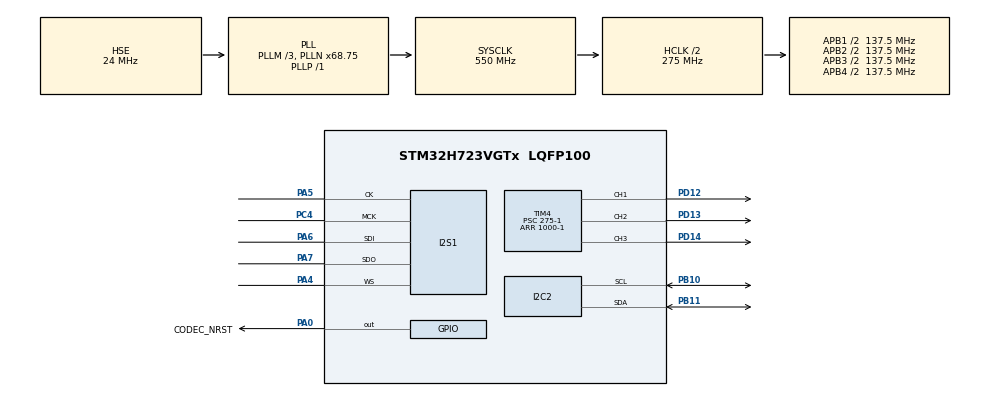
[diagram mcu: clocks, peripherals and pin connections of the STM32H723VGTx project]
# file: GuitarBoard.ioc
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Dma.Request0=SPI1_TX
Dma.Request1=SPI1_RX
Dma.SPI1_RX.1.Direction=DMA_PERIPH_TO_MEMORY
Dma.SPI1_RX.1.EventEnable=DISABLE
Dma.SPI1_RX.1.FIFOMode=DMA_FIFOMODE_DISABLE
Dma.SPI1_RX.1.Instance=DMA1_Stream1
Dma.SPI1_RX.1.MemDataAlignment=DMA_MDATAALIGN_WORD
Dma.SPI1_RX.1.MemInc=DMA_MINC_ENABLE
Dma.SPI1_RX.1.Mode=DMA_CIRCULAR
Dma.SPI1_RX.1.PeriphDataAlignment=DMA_PDATAALIGN_WORD
Dma.SPI1_RX.1.PeriphInc=DMA_PINC_DISABLE
Dma.SPI1_RX.1.Polarity=HAL_DMAMUX_REQ_GEN_RISING
Dma.SPI1_RX.1.Priority=DMA_PRIORITY_VERY_HIGH
Dma.SPI1_RX.1.RequestNumber=1
Dma.SPI1_RX.1.SignalID=NONE
Dma.SPI1_RX.1.SyncEnable=DISABLE
Dma.SPI1_RX.1.SyncPolarity=HAL_DMAMUX_SYNC_NO_EVENT
Dma.SPI1_RX.1.SyncRequestNumber=1
Dma.SPI1_RX.1.SyncSignalID=NONE
Dma.SPI1_TX.0.Direction=DMA_MEMORY_TO_PERIPH
Dma.SPI1_TX.0.EventEnable=DISABLE
Dma.SPI1_TX.0.FIFOMode=DMA_FIFOMODE_DISABLE
Dma.SPI1_TX.0.Instance=DMA1_Stream0
Dma.SPI1_TX.0.MemDataAlignment=DMA_MDATAALIGN_WORD
Dma.SPI1_TX.0.MemInc=DMA_MINC_ENABLE
Dma.SPI1_TX.0.Mode=DMA_CIRCULAR
Dma.SPI1_TX.0.PeriphDataAlignment=DMA_PDATAALIGN_WORD
Dma.SPI1_TX.0.PeriphInc=DMA_PINC_DISABLE
Dma.SPI1_TX.0.Polarity=HAL_DMAMUX_REQ_GEN_RISING
Dma.SPI1_TX.0.Priority=DMA_PRIORITY_VERY_HIGH
Dma.SPI1_TX.0.RequestNumber=1
Dma.SPI1_TX.0.SignalID=NONE
Dma.SPI1_TX.0.SyncEnable=DISABLE
Dma.SPI1_TX.0.SyncPolarity=HAL_DMAMUX_SYNC_NO_EVENT
Dma.SPI1_TX.0.SyncRequestNumber=1
Dma.SPI1_TX.0.SyncSignalID=NONE
I2C2.Timing=0x60404E72
I2S1.AudioFreq=I2S_AUDIOFREQ_48K
I2S1.DataFormat=I2S_DATAFORMAT_24B
I2S1.ErrorAudioFreq=-0.53 %
I2S1.Instance=SPI$Index
I2S1.RealAudioFreq=47.743 KHz
Mcu.Family=STM32H7
Mcu.Name=STM32H723VGTx
Mcu.Package=LQFP100
NVIC.DMA1_Stream0_IRQn=true\:0\:0\:false\:false\:true\:false\:true\:true
NVIC.DMA1_Stream1_IRQn=true\:0\:0\:false\:false\:true\:false\:true\:true
NVIC.PriorityGroup=NVIC_PRIORITYGROUP_4
PA0.GPIO_Label=CODEC_NRST
PA0.Signal=GPIO_Output
PA13(JTMS/SWDIO).Mode=Trace_Asynchronous_SW
PA13(JTMS/SWDIO).Signal=DEBUG_JTMS-SWDIO
PA14(JTCK/SWCLK).Mode=Trace_Asynchronous_SW
PA14(JTCK/SWCLK).Signal=DEBUG_JTCK-SWCLK
PA4.Mode=Full_Duplex_Master
PA4.Signal=I2S1_WS
PA5.Mode=Full_Duplex_Master
PA5.Signal=I2S1_CK
PA6.Mode=Full_Duplex_Master
PA6.Signal=I2S1_SDI
PA7.Mode=Full_Duplex_Master
PA7.Signal=I2S1_SDO
PB10.Mode=I2C
PB10.Signal=I2C2_SCL
PB11.Mode=I2C
PB11.Signal=I2C2_SDA
PB3(JTDO/TRACESWO).Mode=Trace_Asynchronous_SW
PB3(JTDO/TRACESWO).Signal=DEBUG_JTDO-SWO
PC4.Mode=Master_Clock_Activated
PC4.Signal=I2S1_MCK
PD12.Signal=S_TIM4_CH1
PD13.Signal=S_TIM4_CH2
PD14.Signal=S_TIM4_CH3
PH0-OSC_IN.Mode=HSE-External-Oscillator
PH0-OSC_IN.Signal=RCC_OSC_IN
PH1-OSC_OUT.Mode=HSE-External-Oscillator
PH1-OSC_OUT.Signal=RCC_OSC_OUT
ProjectManager.HeapSize=0x200
ProjectManager.StackSize=0x400
ProjectManager.TargetToolchain=STM32CubeIDE
RCC.ADCFreq_Value=48375000
RCC.APB1Freq_Value=137500000
RCC.APB2Freq_Value=137500000
RCC.APB3Freq_Value=137500000
RCC.APB4Freq_Value=137500000
RCC.CortexFreq_Value=550000000
RCC.D1PPRE=RCC_APB3_DIV2
RCC.D2PPRE1=RCC_APB1_DIV2
RCC.D2PPRE2=RCC_APB2_DIV2
RCC.D3PPRE=RCC_APB4_DIV2
RCC.DIVM1=3
RCC.DIVN1=68
RCC.DIVP1=1
RCC.DIVQ1=3
RCC.HCLKFreq_Value=275000000
RCC.HPRE=RCC_HCLK_DIV2
RCC.HSE_VALUE=24000000
RCC.PLLFRACN=6144
RCC.PLLSourceVirtual=RCC_PLLSOURCE_HSE
RCC.SYSCLKFreq_VALUE=550000000
RCC.SYSCLKSource=RCC_SYSCLKSOURCE_PLLCLK
RCC.USBFreq_Value=183333333.33333334
SH.S_TIM4_CH1.0=TIM4_CH1,PWM Generation1 CH1
SH.S_TIM4_CH2.0=TIM4_CH2,PWM Generation2 CH2
SH.S_TIM4_CH3.0=TIM4_CH3,PWM Generation3 CH3
TIM4.Channel-PWM\ Generation1\ CH1=TIM_CHANNEL_1
TIM4.Channel-PWM\ Generation2\ CH2=TIM_CHANNEL_2
TIM4.Channel-PWM\ Generation3\ CH3=TIM_CHANNEL_3
TIM4.Period=1000-1
TIM4.Prescaler=275-1
VP_TIM4_VS_ClockSourceINT.Mode=Internal
board=custom

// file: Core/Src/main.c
/* USER CODE BEGIN Header */
/**
  ******************************************************************************
  * @file           : main.c
  * @brief          : Main program body
  ******************************************************************************
  * @attention
  *
  * Copyright (c) 2024 STMicroelectronics.
  * All rights reserved.
  *
  * This software is licensed under terms that can be found in the LICENSE file
  * in the root directory of this software component.
  * If no LICENSE file comes with this software, it is provided AS-IS.
  *
  ******************************************************************************
  */
/* USER CODE END Header */
#include "main.h"

/* USER CODE BEGIN PD */
#define BUFFER_SIZE 128
/* USER CODE END PD */

I2C_HandleTypeDef hi2c2;

I2S_HandleTypeDef hi2s1;
DMA_HandleTypeDef hdma_spi1_tx;
DMA_HandleTypeDef hdma_spi1_rx;

TIM_HandleTypeDef htim4;

/* USER CODE BEGIN PV */
int32_t adcData[BUFFER_SIZE];
int32_t dacData[BUFFER_SIZE];

static volatile int32_t* inBufPtr;
static volatile int32_t* outBufPtr = &dacData[0];

uint8_t dataReady;
/* USER CODE END PV */

void SystemClock_Config(void);
static void MX_GPIO_Init(void);
static void MX_DMA_Init(void);
static void MX_TIM4_Init(void);
static void MX_I2C2_Init(void);
static void MX_I2S1_Init(void);

/* USER CODE BEGIN 0 */
void HAL_I2SEx_TxRxHalfCpltCallback(I2S_HandleTypeDef* hi2s) {
	inBufPtr  = &adcData[0];
	outBufPtr = &dacData[0];

	dataReady = 1;
}

void HAL_I2SEx_TxRxCpltCallback(I2S_HandleTypeDef* hi2s) {
	inBufPtr  = &adcData[BUFFER_SIZE/2];
	outBufPtr = &dacData[BUFFER_SIZE/2];

	dataReady = 1;
}

void processData() {

	static float leftIn, leftOut;
	static float rightIn, rightOut;

	// i2s transmits L and R channel data in alternating fashion. This is how they will appear in the input buffer
	for (uint8_t n = 0; n < (BUFFER_SIZE/2) ; n += 2) {

		int32_t left_in_raw = inBufPtr[n];

		leftIn = (left_in_raw >> 8) * (1.0f / 8388607.0f); // Convert int32 to int"24" to float between -1 and 1 (recall we selected 24bit in 32bit frame)

		// Do some processing on leftIn
		leftOut = leftIn;

		int32_t left_out_raw = ((int32_t)(leftOut * 8388607.0f)) << 8;
		outBufPtr[n] = left_out_raw;

		/* Right Channel */

		int32_t right_in_raw = inBufPtr[n + 1];

		rightIn = (right_in_raw >> 8) * (1.0f / 8388607.0f); // Convert int32 to int"24" to float between -1 and 1 (recall we selected 24bit in 32bit frame)

		// Do some processing on rightIn
		rightOut = rightIn;

		int32_t right_out_raw = ((int32_t)(rightOut * 8388607.0f)) << 8;
		outBufPtr[n + 1] = right_out_raw;

	}

	dataReady = 0;
}
/* USER CODE END 0 */

int main(void) {

	HAL_Init();

	SystemClock_Config();

	MX_GPIO_Init();
	MX_DMA_Init();
	MX_TIM4_Init();
	MX_I2C2_Init();
	MX_I2S1_Init();

	if (PCM3060_Init() != 0)
			Error_Handler();

	if (HAL_I2SEx_TransmitReceive_DMA(&hi2s1, (uint16_t *)dacData, (uint16_t *)adcData, BUFFER_SIZE * 2) != HAL_OK)
		Error_Handler();

	if (HAL_TIM_PWM_Start(&htim4, TIM_CHANNEL_1) != HAL_OK)
		Error_Handler();
	if (HAL_TIM_PWM_Start(&htim4, TIM_CHANNEL_2) != HAL_OK)
		Error_Handler();
	if (HAL_TIM_PWM_Start(&htim4, TIM_CHANNEL_3) != HAL_OK)
		Error_Handler();

//	float freq = 1.0f; // Cycles per second of colour brightness
//	float sampling_freq = 1000.0f; // Samples per second of sin wave
//	float PI = 3.14159f;
//
//	uint32_t delta_t_ms = 0;
//	int intensity[3]= {0}; // RGB CCR values
//	float channel_phase = 2.0f*PI/3.0f;

	while (1) {

		if (dataReady) {

			processData();

		}

//		intensity[0] = 500 + (int)(500 * sinf(2* PI * freq * delta_t_ms/1000.0f - channel_phase * 0));
//		intensity[1] = 500 + (int)(500 * sinf(2* PI * freq * delta_t_ms/1000.0f - channel_phase * 1));
//		intensity[2] = 500 + (int)(500 * sinf(2* PI * freq * delta_t_ms/1000.0f - channel_phase * 2));
//
//		__HAL_TIM_SET_COMPARE(&htim4, TIM_CHANNEL_1, (int)(intensity[0]*0.2 + 800));
//		__HAL_TIM_SET_COMPARE(&htim4, TIM_CHANNEL_2, intensity[1]);
//		__HAL_TIM_SET_COMPARE(&htim4, TIM_CHANNEL_3, intensity[2]);
//
//		delta_t_ms += (uint32_t)(1000.0f / sampling_freq);
//
//		if(delta_t_ms >= ((uint32_t)(1000.0f / freq))) {
//			delta_t_ms = 0;
//		}
//
//		HAL_Delay((uint32_t)(1000.0f / sampling_freq));

	}

}

void SystemClock_Config(void)
{
  RCC_OscInitTypeDef RCC_OscInitStruct = {0};
  RCC_ClkInitTypeDef RCC_ClkInitStruct = {0};

  /** Supply configuration update enable
  */
  HAL_PWREx_ConfigSupply(PWR_LDO_SUPPLY);

  /** Configure the main internal regulator output voltage
  */
  __HAL_PWR_VOLTAGESCALING_CONFIG(PWR_REGULATOR_VOLTAGE_SCALE0);

  while(!__HAL_PWR_GET_FLAG(PWR_FLAG_VOSRDY)) {}

  /** Initializes the RCC Oscillators according to the specified parameters
  * in the RCC_OscInitTypeDef structure.
  */
  RCC_OscInitStruct.OscillatorType = RCC_OSCILLATORTYPE_HSE;
  RCC_OscInitStruct.HSEState = RCC_HSE_ON;
  RCC_OscInitStruct.PLL.PLLState = RCC_PLL_ON;
  RCC_OscInitStruct.PLL.PLLSource = RCC_PLLSOURCE_HSE;
  RCC_OscInitStruct.PLL.PLLM = 3;
  RCC_OscInitStruct.PLL.PLLN = 68;
  RCC_OscInitStruct.PLL.PLLP = 1;
  RCC_OscInitStruct.PLL.PLLQ = 3;
  RCC_OscInitStruct.PLL.PLLR = 2;
  RCC_OscInitStruct.PLL.PLLRGE = RCC_PLL1VCIRANGE_3;
  RCC_OscInitStruct.PLL.PLLVCOSEL = RCC_PLL1VCOWIDE;
  RCC_OscInitStruct.PLL.PLLFRACN = 6144;
  if (HAL_RCC_OscConfig(&RCC_OscInitStruct) != HAL_OK)
  {
    Error_Handler();
  }

  /** Initializes the CPU, AHB and APB buses clocks
  */
  RCC_ClkInitStruct.ClockType = RCC_CLOCKTYPE_HCLK|RCC_CLOCKTYPE_SYSCLK
                              |RCC_CLOCKTYPE_PCLK1|RCC_CLOCKTYPE_PCLK2
                              |RCC_CLOCKTYPE_D3PCLK1|RCC_CLOCKTYPE_D1PCLK1;
  RCC_ClkInitStruct.SYSCLKSource = RCC_SYSCLKSOURCE_PLLCLK;
  RCC_ClkInitStruct.SYSCLKDivider = RCC_SYSCLK_DIV1;
  RCC_ClkInitStruct.AHBCLKDivider = RCC_HCLK_DIV2;
  RCC_ClkInitStruct.APB3CLKDivider = RCC_APB3_DIV2;
  RCC_ClkInitStruct.APB1CLKDivider = RCC_APB1_DIV2;
  RCC_ClkInitStruct.APB2CLKDivider = RCC_APB2_DIV2;
  RCC_ClkInitStruct.APB4CLKDivider = RCC_APB4_DIV2;

  if (HAL_RCC_ClockConfig(&RCC_ClkInitStruct, FLASH_LATENCY_3) != HAL_OK)
  {
    Error_Handler();
  }
}

static void MX_I2C2_Init(void)
{

  hi2c2.Instance = I2C2;
  hi2c2.Init.Timing = 0x60404E72;
  hi2c2.Init.OwnAddress1 = 0;
  hi2c2.Init.AddressingMode = I2C_ADDRESSINGMODE_7BIT;
  hi2c2.Init.DualAddressMode = I2C_DUALADDRESS_DISABLE;
  hi2c2.Init.OwnAddress2 = 0;
  hi2c2.Init.OwnAddress2Masks = I2C_OA2_NOMASK;
  hi2c2.Init.GeneralCallMode = I2C_GENERALCALL_DISABLE;
  hi2c2.Init.NoStretchMode = I2C_NOSTRETCH_DISABLE;
  if (HAL_I2C_Init(&hi2c2) != HAL_OK)
  {
    Error_Handler();
  }

  /** Configure Analogue filter
  */
  if (HAL_I2CEx_ConfigAnalogFilter(&hi2c2, I2C_ANALOGFILTER_ENABLE) != HAL_OK)
  {
    Error_Handler();
  }

  /** Configure Digital filter
  */
  if (HAL_I2CEx_ConfigDigitalFilter(&hi2c2, 0) != HAL_OK)
  {
    Error_Handler();
  }

}

static void MX_I2S1_Init(void)
{

  hi2s1.Instance = SPI1;
  hi2s1.Init.Mode = I2S_MODE_MASTER_FULLDUPLEX;
  hi2s1.Init.Standard = I2S_STANDARD_PHILIPS;
  hi2s1.Init.DataFormat = I2S_DATAFORMAT_24B;
  hi2s1.Init.MCLKOutput = I2S_MCLKOUTPUT_ENABLE;
  hi2s1.Init.AudioFreq = I2S_AUDIOFREQ_16K;
  hi2s1.Init.CPOL = I2S_CPOL_LOW;
  hi2s1.Init.FirstBit = I2S_FIRSTBIT_MSB;
  hi2s1.Init.WSInversion = I2S_WS_INVERSION_DISABLE;
  hi2s1.Init.Data24BitAlignment = I2S_DATA_24BIT_ALIGNMENT_RIGHT;
  hi2s1.Init.MasterKeepIOState = I2S_MASTER_KEEP_IO_STATE_DISABLE;
  if (HAL_I2S_Init(&hi2s1) != HAL_OK)
  {
    Error_Handler();
  }

}

static void MX_TIM4_Init(void)
{

  TIM_ClockConfigTypeDef sClockSourceConfig = {0};
  TIM_MasterConfigTypeDef sMasterConfig = {0};
  TIM_OC_InitTypeDef sConfigOC = {0};

  htim4.Instance = TIM4;
  htim4.Init.Prescaler = 275-1;
  htim4.Init.CounterMode = TIM_COUNTERMODE_UP;
  htim4.Init.Period = 1000-1;
  htim4.Init.ClockDivision = TIM_CLOCKDIVISION_DIV1;
  htim4.Init.AutoReloadPreload = TIM_AUTORELOAD_PRELOAD_DISABLE;
  if (HAL_TIM_Base_Init(&htim4) != HAL_OK)
  {
    Error_Handler();
  }
  sClockSourceConfig.ClockSource = TIM_CLOCKSOURCE_INTERNAL;
  if (HAL_TIM_ConfigClockSource(&htim4, &sClockSourceConfig) != HAL_OK)
  {
    Error_Handler();
  }
  if (HAL_TIM_PWM_Init(&htim4) != HAL_OK)
  {
    Error_Handler();
  }
  sMasterConfig.MasterOutputTrigger = TIM_TRGO_RESET;
  sMasterConfig.MasterSlaveMode = TIM_MASTERSLAVEMODE_DISABLE;
  if (HAL_TIMEx_MasterConfigSynchronization(&htim4, &sMasterConfig) != HAL_OK)
  {
    Error_Handler();
  }
  sConfigOC.OCMode = TIM_OCMODE_PWM1;
  sConfigOC.Pulse = 0;
  sConfigOC.OCPolarity = TIM_OCPOLARITY_HIGH;
  sConfigOC.OCFastMode = TIM_OCFAST_DISABLE;
  if (HAL_TIM_PWM_ConfigChannel(&htim4, &sConfigOC, TIM_CHANNEL_1) != HAL_OK)
  {
    Error_Handler();
  }
  if (HAL_TIM_PWM_ConfigChannel(&htim4, &sConfigOC, TIM_CHANNEL_2) != HAL_OK)
  {
    Error_Handler();
  }
  if (HAL_TIM_PWM_ConfigChannel(&htim4, &sConfigOC, TIM_CHANNEL_3) != HAL_OK)
  {
    Error_Handler();
  }
  HAL_TIM_MspPostInit(&htim4);

}

static void MX_DMA_Init(void)
{

  /* DMA controller clock enable */
  __HAL_RCC_DMA1_CLK_ENABLE();

  /* DMA interrupt init */
  /* DMA1_Stream0_IRQn interrupt configuration */
  HAL_NVIC_SetPriority(DMA1_Stream0_IRQn, 0, 0);
  HAL_NVIC_EnableIRQ(DMA1_Stream0_IRQn);
  /* DMA1_Stream1_IRQn interrupt configuration */
  HAL_NVIC_SetPriority(DMA1_Stream1_IRQn, 0, 0);
  HAL_NVIC_EnableIRQ(DMA1_Stream1_IRQn);
  /* DMAMUX1_OVR_IRQn interrupt configuration */
  HAL_NVIC_SetPriority(DMAMUX1_OVR_IRQn, 0, 0);
  HAL_NVIC_EnableIRQ(DMAMUX1_OVR_IRQn);

}

static void MX_GPIO_Init(void)
{
  GPIO_InitTypeDef GPIO_InitStruct = {0};

  /* GPIO Ports Clock Enable */
  __HAL_RCC_GPIOH_CLK_ENABLE();
  __HAL_RCC_GPIOA_CLK_ENABLE();
  __HAL_RCC_GPIOC_CLK_ENABLE();
  __HAL_RCC_GPIOB_CLK_ENABLE();
  __HAL_RCC_GPIOD_CLK_ENABLE();

  /*Configure GPIO pin Output Level */
  HAL_GPIO_WritePin(CODEC_NRST_GPIO_Port, CODEC_NRST_Pin, GPIO_PIN_RESET);

  /*Configure GPIO pin : CODEC_NRST_Pin */
  GPIO_InitStruct.Pin = CODEC_NRST_Pin;
  GPIO_InitStruct.Mode = GPIO_MODE_OUTPUT_PP;
  GPIO_InitStruct.Pull = GPIO_NOPULL;
  GPIO_InitStruct.Speed = GPIO_SPEED_FREQ_LOW;
  HAL_GPIO_Init(CODEC_NRST_GPIO_Port, &GPIO_InitStruct);

}

void Error_Handler(void)
{
  __disable_irq();
  while (1)
  {
  }
}
